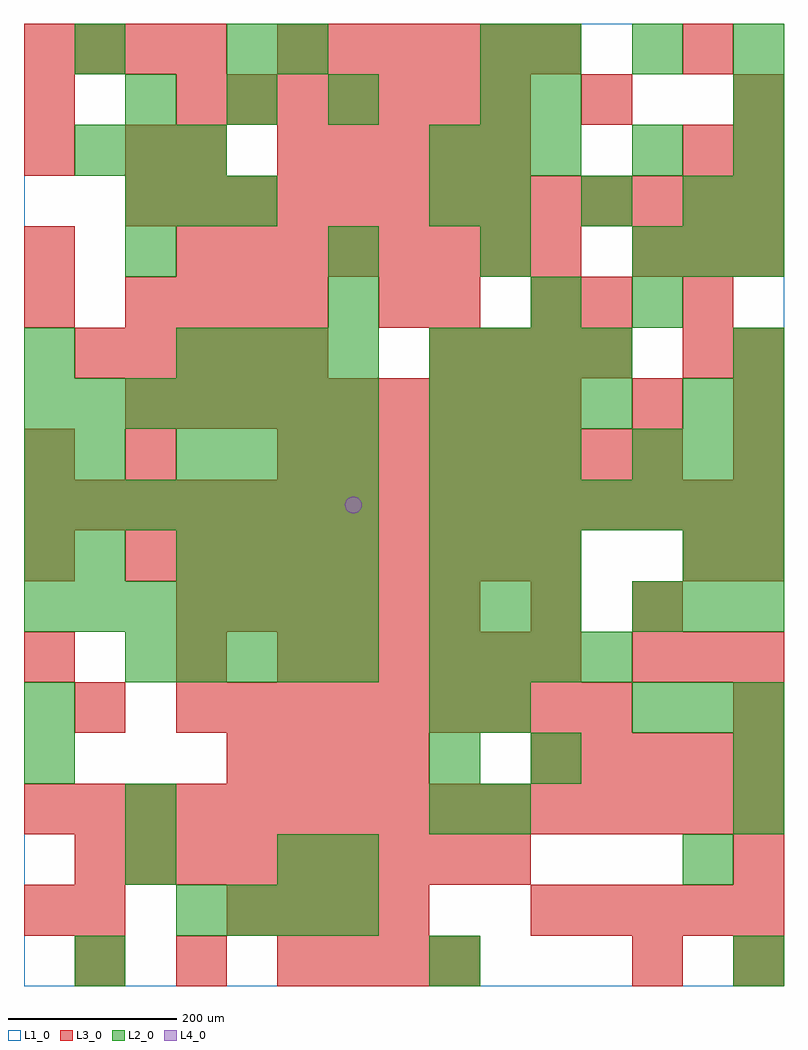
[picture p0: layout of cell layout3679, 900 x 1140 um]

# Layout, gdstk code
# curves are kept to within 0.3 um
import gdstk
lib = gdstk.Library(unit=1e-6, precision=1e-09)
def R(c, l, rs):  # rectangles x0, y0, x1, y1
    for r in rs: c.add(gdstk.rectangle(r[:2], r[2:], *l))
def A(c, l, x, y, w, h, nx, ny, dx, dy):  # array of equal rectangles
    R(c, l, [(x+i*dx, y+j*dy, x+i*dx+w, y+j*dy+h) for i in range(nx) for j in range(ny)])
def P(c, l, *ps):  # polygons
    for p in ps: c.add(gdstk.Polygon(p, *l))
L1_0 = (1, 0)
L2_0 = (2, 0)
L3_0 = (3, 0)
L4_0 = (4, 0)

layout3679 = lib.new_cell('layout3679')
R(layout3679, L1_0, [(0,0,900,1140)])
A(layout3679, L2_0, 180, 60, 60, 60, 4, 2, 60, 420)
A(layout3679, L2_0, 480, 180, 60, 60, 1, 3, 0, 60)
A(layout3679, L2_0, 720, 300, 60, 60, 3, 2, 60, 120)
A(layout3679, L2_0, 120, 360, 60, 60, 5, 1, 60, 0)
A(layout3679, L2_0, 480, 360, 60, 60, 4, 2, 60, 300)
A(layout3679, L2_0, 0, 420, 60, 60, 7, 3, 60, 120)
A(layout3679, L2_0, 480, 420, 60, 60, 3, 2, 60, 60)
A(layout3679, L2_0, 0, 480, 60, 60, 1, 3, 0, 120)
A(layout3679, L2_0, 780, 480, 60, 60, 1, 3, 0, 180)
A(layout3679, L2_0, 480, 540, 60, 60, 7, 1, 60, 0)
A(layout3679, L2_0, 180, 600, 60, 60, 4, 2, 60, 120)
A(layout3679, L2_0, 480, 600, 60, 60, 3, 2, 60, 360)
A(layout3679, L2_0, 720, 600, 60, 60, 3, 1, 60, 0)
A(layout3679, L2_0, 480, 720, 60, 60, 4, 1, 60, 0)
A(layout3679, L2_0, 360, 840, 60, 60, 3, 1, 180, 0)
A(layout3679, L2_0, 840, 840, 60, 60, 1, 4, 0, 60)
A(layout3679, L2_0, 120, 900, 60, 60, 3, 1, 60, 0)
A(layout3679, L2_0, 540, 900, 60, 60, 3, 1, 120, 0)
A(layout3679, L2_0, 60, 960, 60, 60, 3, 1, 60, 0)
A(layout3679, L2_0, 120, 1020, 60, 60, 3, 1, 120, 0)
A(layout3679, L2_0, 600, 1080, 60, 60, 3, 1, 120, 0)
R(layout3679, L2_0, [(60,0,120,60), (480,0,540,60), (840,0,900,60), (120,120,180,180), (300,120,360,180), (360,120,420,180), (780,120,840,180), (120,180,180,240), (540,180,600,240), (840,180,900,240), (0,240,60,300), (600,240,660,300), (840,240,900,300), (0,300,60,360), (540,300,600,360), (60,480,120,540), (840,480,900,540), (60,600,120,660), (840,660,900,720), (840,720,900,780), (360,780,420,840), (600,780,660,840), (720,780,780,840), (120,840,180,900), (480,900,540,960), (720,960,780,1020), (540,1020,600,1080), (600,1020,660,1080), (60,1080,120,1140), (240,1080,300,1140), (300,1080,360,1140), (540,1080,600,1140)])
A(layout3679, L3_0, 60, 0, 60, 60, 3, 1, 120, 0)
A(layout3679, L3_0, 360, 0, 60, 60, 3, 1, 60, 0)
A(layout3679, L3_0, 240, 60, 60, 60, 4, 2, 60, 180)
A(layout3679, L3_0, 600, 60, 60, 60, 5, 2, 60, 180)
A(layout3679, L3_0, 60, 120, 60, 60, 9, 1, 60, 0)
A(layout3679, L3_0, 840, 120, 60, 60, 1, 3, 0, 180)
A(layout3679, L3_0, 0, 180, 60, 60, 15, 2, 60, 360)
A(layout3679, L3_0, 180, 300, 60, 60, 9, 1, 60, 0)
A(layout3679, L3_0, 0, 360, 60, 60, 1, 3, 0, 120)
A(layout3679, L3_0, 300, 360, 60, 60, 6, 2, 60, 720)
A(layout3679, L3_0, 720, 360, 60, 60, 3, 2, 60, 480)
A(layout3679, L3_0, 180, 420, 60, 60, 6, 1, 60, 0)
A(layout3679, L3_0, 120, 480, 60, 60, 9, 2, 60, 180)
A(layout3679, L3_0, 300, 600, 60, 60, 8, 1, 60, 0)
A(layout3679, L3_0, 840, 600, 60, 60, 1, 3, 0, 60)
A(layout3679, L3_0, 60, 720, 60, 60, 5, 1, 60, 0)
A(layout3679, L3_0, 480, 720, 60, 60, 4, 1, 60, 0)
A(layout3679, L3_0, 120, 780, 60, 60, 4, 1, 60, 0)
A(layout3679, L3_0, 180, 840, 60, 60, 8, 1, 60, 0)
A(layout3679, L3_0, 120, 900, 60, 60, 13, 1, 60, 0)
A(layout3679, L3_0, 300, 960, 60, 60, 5, 1, 60, 0)
A(layout3679, L3_0, 180, 1020, 60, 60, 7, 1, 60, 0)
A(layout3679, L3_0, 0, 1080, 60, 60, 4, 1, 60, 0)
R(layout3679, L3_0, [(720,0,780,60), (840,0,900,60), (0,60,60,120), (60,60,120,120), (60,300,120,360), (180,360,240,420), (600,420,660,480), (720,420,780,480), (780,480,840,540), (120,600,180,660), (720,660,780,720), (780,720,840,780), (0,780,60,840), (420,780,480,840), (480,780,540,840), (600,780,660,840), (660,780,720,840), (780,780,840,840), (0,840,60,900), (0,960,60,1020), (120,960,180,1020), (180,960,240,1020), (780,960,840,1020), (840,960,900,1020), (0,1020,60,1080), (660,1020,720,1080), (840,1020,900,1080), (780,1080,840,1140)])
P(layout3679, L4_0, [(400,570),(399.239,573.827),(397.071,577.071),(393.827,579.239),(390,580),(386.173,579.239),(382.929,577.071),(380.761,573.827),(380,570),(380.761,566.173),(382.929,562.929),(386.173,560.761),(390,560),(393.827,560.761),(397.071,562.929),(399.239,566.173)])

lib.write_gds('layout3679.gds')
